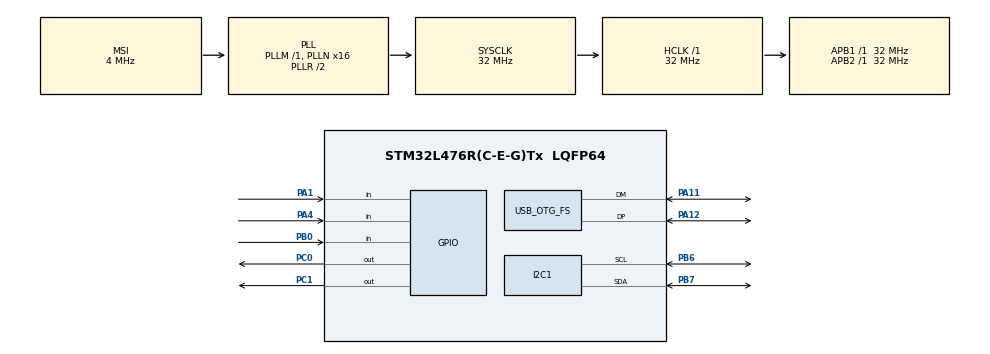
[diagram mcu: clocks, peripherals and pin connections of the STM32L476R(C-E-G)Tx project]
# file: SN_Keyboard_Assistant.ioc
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I2C1.Timing=0x00B07CB4
Mcu.Family=STM32L4
Mcu.Name=STM32L476R(C-E-G)Tx
Mcu.Package=LQFP64
NVIC.OTG_FS_IRQn=true\:0\:0\:false\:false\:true\:true\:true\:true
NVIC.PriorityGroup=NVIC_PRIORITYGROUP_4
PA1.GPIO_PuPd=GPIO_PULLUP
PA1.Signal=GPIO_Input
PA11.Mode=Host_Only
PA11.Signal=USB_OTG_FS_DM
PA12.Mode=Host_Only
PA12.Signal=USB_OTG_FS_DP
PA13\ (JTMS-SWDIO).GPIO_Label=TMS
PA13\ (JTMS-SWDIO).Mode=Serial_Wire
PA13\ (JTMS-SWDIO).Signal=SYS_JTMS-SWDIO
PA14\ (JTCK-SWCLK).GPIO_Label=TCK
PA14\ (JTCK-SWCLK).Mode=Serial_Wire
PA14\ (JTCK-SWCLK).Signal=SYS_JTCK-SWCLK
PA4.GPIO_PuPd=GPIO_PULLUP
PA4.Signal=GPIO_Input
PB0.GPIO_PuPd=GPIO_PULLUP
PB0.Signal=GPIO_Input
PB3\ (JTDO-TRACESWO).GPIO_Label=SWO
PB3\ (JTDO-TRACESWO).Signal=SYS_JTDO-SWO
PB6.Mode=I2C
PB6.Signal=I2C1_SCL
PB7.Mode=I2C
PB7.Signal=I2C1_SDA
PC0.Signal=GPIO_Output
PC1.Signal=GPIO_Output
PC14-OSC32_IN\ (PC14).Mode=LSE-External-Oscillator
PC14-OSC32_IN\ (PC14).Signal=RCC_OSC32_IN
PC15-OSC32_OUT\ (PC15).Mode=LSE-External-Oscillator
PC15-OSC32_OUT\ (PC15).Signal=RCC_OSC32_OUT
PH0-OSC_IN\ (PH0).Signal=RCC_OSC_IN
PH1-OSC_OUT\ (PH1).Signal=RCC_OSC_OUT
ProjectManager.HeapSize=0x200
ProjectManager.StackSize=0x400
ProjectManager.TargetToolchain=STM32CubeIDE
RCC.ADCFreq_Value=48000000
RCC.AHBFreq_Value=32000000
RCC.APB1Freq_Value=32000000
RCC.APB1TimFreq_Value=32000000
RCC.APB2Freq_Value=32000000
RCC.APB2TimFreq_Value=32000000
RCC.CortexFreq_Value=32000000
RCC.HCLKFreq_Value=32000000
RCC.HSE_VALUE=8000000
RCC.HSI_VALUE=16000000
RCC.MSI_VALUE=4000000
RCC.PLLN=16
RCC.PLLSAI1N=24
RCC.PREFETCH_ENABLE=1
RCC.SYSCLKFreq_VALUE=32000000
RCC.SYSCLKSource=RCC_SYSCLKSOURCE_PLLCLK
RCC.USBFreq_Value=48000000
RCC.VCOOutputFreq_Value=64000000
USB_HOST.USBH_HandleTypeDef=hUsbHostFS
USB_HOST.VirtualModeFS=Hid
USB_OTG_FS.VirtualMode=Host_Only
USB_OTG_FS.phy_itface=HCD_PHY_EMBEDDED
VP_USB_HOST_VS_USB_HOST_HID_FS.Mode=HID_FS
board=NUCLEO-L476RG

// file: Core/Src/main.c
/* USER CODE BEGIN Header */
/**
  ******************************************************************************
  * @file           : main.c
  * @brief          : Main program body
  ******************************************************************************
  * @attention
  *
  * Copyright (c) 2025 STMicroelectronics.
  * All rights reserved.
  *
  * This software is licensed under terms that can be found in the LICENSE file
  * in the root directory of this software component.
  * If no LICENSE file comes with this software, it is provided AS-IS.
  *
  ******************************************************************************
  */
/* USER CODE END Header */
#include "main.h"
#include "usb_host.h"

/* USER CODE BEGIN Includes */
#include <stdio.h>              /* printf() used for debug output (SWV/ITM) */
#include "usbh_midi.h"          /* USB Host MIDI class: reading 4-byte MIDI packets */
#include "lesson.h"             /* Lesson engine: verifies incoming notes */
#include "grove_lcd16x2_i2c.h"  /* Grove 16x2 LCD driver over I2C */
#include "button.h"             /* Button debouncing and edge detection */
#include "app.h"                /* Application UI/menu state machine */
/* USER CODE END Includes */

I2C_HandleTypeDef hi2c1;

/* USER CODE BEGIN PV */
/* USB Host handle and state are owned by usb_host.c (CubeMX-generated file). */
extern USBH_HandleTypeDef hUsbHostFS;   // declared in usb_host.c
extern ApplicationTypeDef Appli_state;  // declared in usb_host.c

/* Used to print USB application state changes only once per transition. */
static ApplicationTypeDef prevState = APPLICATION_IDLE;
/* USER CODE END PV */

void SystemClock_Config(void);
static void MX_GPIO_Init(void);
static void MX_I2C1_Init(void);
void MX_USB_HOST_Process(void);

/* USER CODE BEGIN 0 */
/* Global LCD instance (used by the UI layer through 'extern GroveLCD_t lcd;'). */
GroveLCD_t lcd;

/*
 * Custom LCD characters (HD44780 CGRAM slots 0..7).
 * The project uploads music symbols to improve the UI on a 16x2 display.
 */

/* Slot 0: Whole note */
static const uint8_t CH_WHOLE[8] = {
    0b00000, 0b00110, 0b01001, 0b01001, 0b01001, 0b00110, 0b00000, 0b00000
};

/* Slot 1: Half note */
static const uint8_t CH_HALF[8] = {
    0b00001, 0b00001, 0b00111, 0b01001, 0b01001, 0b00111, 0b00000, 0b00000
};

/* Slot 2: Quarter note */
static const uint8_t CH_QUARTER[8] = {
    0b00001, 0b00001, 0b00111, 0b01111, 0b01111, 0b00111, 0b00000, 0b00000
};

/* Slot 3: Eighth note */
static const uint8_t CH_EIGHTH[8] = {
    0b00011,
    0b00101,
    0b00011,
    0b00001,
    0b01111,
    0b01111,
    0b00110,
    0b00000
};

/* Slot 4: Sixteenth note */
static const uint8_t CH_SIXTEENTH[8] = {
    0b00011,
    0b00101,
    0b00011,
    0b00101,
    0b01111,
    0b01111,
    0b00110,
    0b00000
};

/* Slot 5: Sharp (#) */
static const uint8_t CH_SHARP[8] = {
    0b00100,
    0b01110,
    0b00100,
    0b01110,
    0b00100,
    0b00000,
    0b00000,
    0b00000
};

/* Slot 6: Flat (b) */
static const uint8_t CH_FLAT[8] = {
    0b00100,
    0b00100,
    0b00110,
    0b00101,
    0b00110,
    0b00000,
    0b00000,
    0b00000
};
/* USER CODE END 0 */

int main(void)
{

  /* MCU Configuration--------------------------------------------------------*/

  /* Reset peripherals, init Flash + SysTick. */
  HAL_Init();

  /* Configure the system clock. */
  SystemClock_Config();

  /* Initialize all configured peripherals. */
  MX_GPIO_Init();
  MX_USB_HOST_Init();
  MX_I2C1_Init();

  /* USER CODE BEGIN 2 */
  /* SWV/ITM banner (visible in CubeIDE ITM Data Console). */
  printf("\r\n==== SN_Keyboard_assistant started (SWV printf active) ====\r\n");

  /* LCD initialization (Grove 16x2 over I2C). */
  GroveLCD_Init(&lcd, &hi2c1, GROVE_LCD_I2C_ADDR_7BIT_DEFAULT);

  /* Upload custom chars into CGRAM slots 0..6. */
  GroveLCD_CreateChar(&lcd, 0, CH_WHOLE);
  GroveLCD_CreateChar(&lcd, 1, CH_HALF);
  GroveLCD_CreateChar(&lcd, 2, CH_QUARTER);
  GroveLCD_CreateChar(&lcd, 3, CH_EIGHTH);
  GroveLCD_CreateChar(&lcd, 4, CH_SIXTEENTH);
  GroveLCD_CreateChar(&lcd, 5, CH_SHARP);
  GroveLCD_CreateChar(&lcd, 6, CH_FLAT);

  /* Start the application UI state machine (welcome screen etc.). */
  App_Init();
  /* USER CODE END 2 */

  /* Infinite loop */
  /* USER CODE BEGIN WHILE */
  while (1)
  {
    /* Maintain USB Host stack (enumeration, transfers, class handling). */
    MX_USB_HOST_Process();

    /* Print USB app state transitions only once (no spam every loop). */
    if (Appli_state != prevState)
    {
      switch (Appli_state)
      {
        case APPLICATION_START:
          printf("State: APPLICATION_START (device connected)\r\n");
          break;
        case APPLICATION_READY:
          printf("State: APPLICATION_READY (MIDI class active)\r\n");
          break;
        case APPLICATION_DISCONNECT:
          printf("State: APPLICATION_DISCONNECT (device disconnected)\r\n");
          break;
        default:
          printf("State: %d\r\n", Appli_state);
          break;
      }
      prevState = Appli_state;
    }

    /* Read MIDI events and forward NOTE ON only when the lesson is active. */
    if (Appli_state == APPLICATION_READY || Appli_state == APPLICATION_START)
    {
      uint8_t midi_event[4];
      if (USBH_MIDI_GetEvent(&hUsbHostFS, midi_event) == USBH_OK)
      {
        uint8_t status  = midi_event[1] & 0xF0;
        uint8_t note    = midi_event[2];
        uint8_t vel     = midi_event[3];

        if (status == 0x90 && vel != 0)  /* NOTE ON */
        {
          if (Lesson_IsActive())
          {
            /* Lesson_HandleInput treats 0..127 as MIDI notes. */
            Lesson_HandleInput(note);
          }
        }
        else
        {
          /* NOTE OFF / other messages are ignored in this file. */
        }
      }
    }

    /* Poll buttons (debounce/edge) and run UI/menu logic. */
    Button_Update();
    App_Update();

    /* USER CODE END WHILE */
  }
}

/* (rest of CubeMX-generated init code unchanged) */

void SystemClock_Config(void)
{
  RCC_OscInitTypeDef RCC_OscInitStruct = {0};
  RCC_ClkInitTypeDef RCC_ClkInitStruct = {0};

  if (HAL_PWREx_ControlVoltageScaling(PWR_REGULATOR_VOLTAGE_SCALE1) != HAL_OK)
  {
    Error_Handler();
  }

  HAL_PWR_EnableBkUpAccess();
  __HAL_RCC_LSEDRIVE_CONFIG(RCC_LSEDRIVE_LOW);

  RCC_OscInitStruct.OscillatorType = RCC_OSCILLATORTYPE_LSE|RCC_OSCILLATORTYPE_MSI;
  RCC_OscInitStruct.LSEState = RCC_LSE_ON;
  RCC_OscInitStruct.MSIState = RCC_MSI_ON;
  RCC_OscInitStruct.MSICalibrationValue = 0;
  RCC_OscInitStruct.MSIClockRange = RCC_MSIRANGE_6;
  RCC_OscInitStruct.PLL.PLLState = RCC_PLL_ON;
  RCC_OscInitStruct.PLL.PLLSource = RCC_PLLSOURCE_MSI;
  RCC_OscInitStruct.PLL.PLLM = 1;
  RCC_OscInitStruct.PLL.PLLN = 16;
  RCC_OscInitStruct.PLL.PLLP = RCC_PLLP_DIV7;
  RCC_OscInitStruct.PLL.PLLQ = RCC_PLLQ_DIV2;
  RCC_OscInitStruct.PLL.PLLR = RCC_PLLR_DIV2;
  if (HAL_RCC_OscConfig(&RCC_OscInitStruct) != HAL_OK)
  {
    Error_Handler();
  }

  RCC_ClkInitStruct.ClockType = RCC_CLOCKTYPE_HCLK|RCC_CLOCKTYPE_SYSCLK
                              |RCC_CLOCKTYPE_PCLK1|RCC_CLOCKTYPE_PCLK2;
  RCC_ClkInitStruct.SYSCLKSource = RCC_SYSCLKSOURCE_PLLCLK;
  RCC_ClkInitStruct.AHBCLKDivider = RCC_SYSCLK_DIV1;
  RCC_ClkInitStruct.APB1CLKDivider = RCC_HCLK_DIV1;
  RCC_ClkInitStruct.APB2CLKDivider = RCC_HCLK_DIV1;

  if (HAL_RCC_ClockConfig(&RCC_ClkInitStruct, FLASH_LATENCY_1) != HAL_OK)
  {
    Error_Handler();
  }

  HAL_RCCEx_EnableMSIPLLMode();
}

static void MX_I2C1_Init(void)
{
  hi2c1.Instance = I2C1;
  hi2c1.Init.Timing = 0x00B07CB4;
  hi2c1.Init.OwnAddress1 = 0;
  hi2c1.Init.AddressingMode = I2C_ADDRESSINGMODE_7BIT;
  hi2c1.Init.DualAddressMode = I2C_DUALADDRESS_DISABLE;
  hi2c1.Init.OwnAddress2 = 0;
  hi2c1.Init.OwnAddress2Masks = I2C_OA2_NOMASK;
  hi2c1.Init.GeneralCallMode = I2C_GENERALCALL_DISABLE;
  hi2c1.Init.NoStretchMode = I2C_NOSTRETCH_DISABLE;
  if (HAL_I2C_Init(&hi2c1) != HAL_OK)
  {
    Error_Handler();
  }

  if (HAL_I2CEx_ConfigAnalogFilter(&hi2c1, I2C_ANALOGFILTER_ENABLE) != HAL_OK)
  {
    Error_Handler();
  }

  if (HAL_I2CEx_ConfigDigitalFilter(&hi2c1, 0) != HAL_OK)
  {
    Error_Handler();
  }
}

static void MX_GPIO_Init(void)
{
  GPIO_InitTypeDef GPIO_InitStruct = {0};

  __HAL_RCC_GPIOC_CLK_ENABLE();
  __HAL_RCC_GPIOH_CLK_ENABLE();
  __HAL_RCC_GPIOA_CLK_ENABLE();
  __HAL_RCC_GPIOB_CLK_ENABLE();

  HAL_GPIO_WritePin(GPIOC, GPIO_PIN_0|GPIO_PIN_1, GPIO_PIN_RESET);

  GPIO_InitStruct.Pin = GPIO_PIN_0|GPIO_PIN_1;
  GPIO_InitStruct.Mode = GPIO_MODE_OUTPUT_PP;
  GPIO_InitStruct.Pull = GPIO_NOPULL;
  GPIO_InitStruct.Speed = GPIO_SPEED_FREQ_LOW;
  HAL_GPIO_Init(GPIOC, &GPIO_InitStruct);

  GPIO_InitStruct.Pin = GPIO_PIN_1|GPIO_PIN_4;
  GPIO_InitStruct.Mode = GPIO_MODE_INPUT;
  GPIO_InitStruct.Pull = GPIO_PULLUP;
  HAL_GPIO_Init(GPIOA, &GPIO_InitStruct);

  GPIO_InitStruct.Pin = GPIO_PIN_0;
  GPIO_InitStruct.Mode = GPIO_MODE_INPUT;
  GPIO_InitStruct.Pull = GPIO_PULLUP;
  HAL_GPIO_Init(GPIOB, &GPIO_InitStruct);
}

/* USER CODE BEGIN 4 */
/**
 * @brief Retargets printf() output to SWV/ITM (Stimulus Port 0).
 *
 * Note: ITM must be enabled in the debugger (CubeIDE: SWV configuration).
 */
int __io_putchar(int ch)
{
    return ITM_SendChar(ch);
}
/* USER CODE END 4 */

void Error_Handler(void)
{
  __disable_irq();
  while (1)
  {
  }
}
